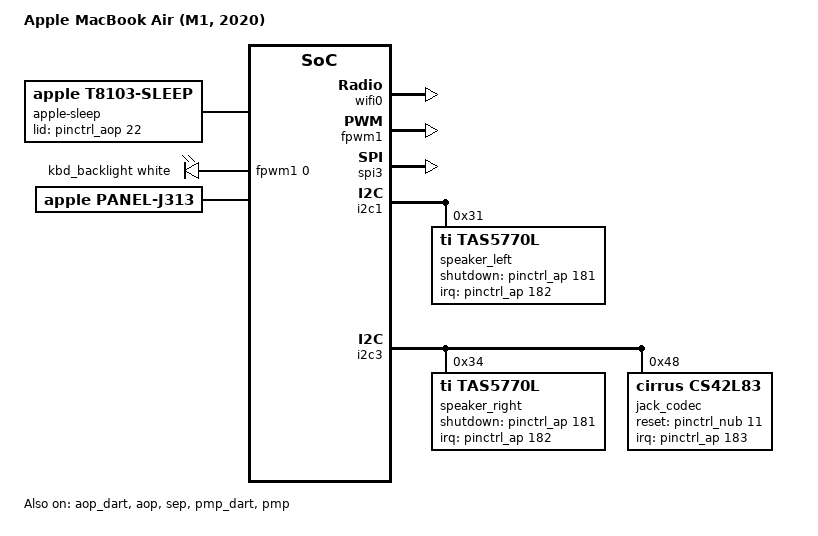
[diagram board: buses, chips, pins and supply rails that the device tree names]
// SPDX-License-Identifier: GPL-2.0+ OR MIT
/*
 * Apple MacBook Air (M1, 2020)
 *
 * target-type: J313
 *
 * Copyright The Asahi Linux Contributors
 */

/dts-v1/;

#include "t8103.dtsi"
#include "t8103-jxxx.dtsi"
#include <dt-bindings/leds/common.h>

/ {
	compatible = "apple,j313", "apple,t8103", "apple,arm-platform";
	model = "Apple MacBook Air (M1, 2020)";
	chassis-type = "laptop";

	aliases {
		sep = &sep;
	};

	/* EXPERIMENTAL: drivers/soc/apple/apple-sleep.c (lid switch level on aop-gpio 22) */
	apple-sleep {
		compatible = "apple,t8103-sleep";
		lid-gpios = <&pinctrl_aop 22 GPIO_ACTIVE_HIGH>;
	};

	led-controller {
		compatible = "pwm-leds";
		led-0 {
			pwms = <&fpwm1 0 40000>;
			label = "kbd_backlight";
			function = LED_FUNCTION_KBD_BACKLIGHT;
			color = <LED_COLOR_ID_WHITE>;
			max-brightness = <255>;
			default-state = "keep";
		};
	};
};

&dcp {
	panel: panel {
		compatible = "apple,panel-j313", "apple,panel";
		width-mm = <286>;
		height-mm = <179>;
		apple,max-brightness = <420>;
	};
};

&framebuffer0 {
	panel = <&panel>;
	post-init-providers = <&panel>;
};

&bluetooth0 {
	brcm,board-type = "apple,shikoku";
};

&wifi0 {
	brcm,board-type = "apple,shikoku";
};

&fpwm1 {
	status = "okay";
};

/*
 * Provide labels for the USB type C ports.
 */

&typec0 {
	label = "USB-C Left-back";
};

&typec1 {
	label = "USB-C Left-front";
};

&spi3 {
	status = "okay";

	hid-transport@0 {
		compatible = "apple,spi-hid-transport";
		reg = <0>;
		spi-max-frequency = <8000000>;
		/*
		 * Apple's ADT specifies 20us CS change delays, and the
		 * SPI HID interface metadata specifies 45us. Using either
		 * seems not to be reliable, but adding both works, so
		 * best guess is they are cumulative.
		 */
		spi-cs-setup-delay-ns = <65000>;
		spi-cs-hold-delay-ns = <65000>;
		spi-cs-inactive-delay-ns = <250000>;
		spien-gpios = <&pinctrl_ap 195 0>;
		interrupts-extended = <&pinctrl_nub 13 IRQ_TYPE_LEVEL_LOW>;
	};
};

&i2c1 {
	speaker_left: codec@31 {
		compatible = "ti,tas5770l", "ti,tas2770";
		reg = <0x31>;
		shutdown-gpios = <&pinctrl_ap 181 GPIO_ACTIVE_HIGH>;
		#sound-dai-cells = <0>;
		sound-name-prefix = "Left";
		interrupts-extended = <&pinctrl_ap 182 IRQ_TYPE_LEVEL_LOW>;
		ti,imon-slot-no = <0>;
		ti,vmon-slot-no = <2>;
	};
};

&i2c3 {
	speaker_right: codec@34 {
		compatible = "ti,tas5770l", "ti,tas2770";
		reg = <0x34>;
		shutdown-gpios = <&pinctrl_ap 181 GPIO_ACTIVE_HIGH>;
		#sound-dai-cells = <0>;
		sound-name-prefix = "Right";
		interrupts-extended = <&pinctrl_ap 182 IRQ_TYPE_LEVEL_LOW>;
		ti,imon-slot-no = <4>;
		ti,vmon-slot-no = <6>;
	};

	jack_codec: codec@48 {
		compatible = "cirrus,cs42l83";
		reg = <0x48>;
		reset-gpios = <&pinctrl_nub 11 GPIO_ACTIVE_HIGH>;
		interrupt-parent = <&pinctrl_ap>;
		interrupts = <183 IRQ_TYPE_LEVEL_LOW>;
		#sound-dai-cells = <0>;
		cirrus,ts-inv = <1>;
		sound-name-prefix = "Jack";
	};
};

&aop_mbox {
       status = "okay";
};

&aop_dart {
       status = "okay";
};

&aop_admac {
       status = "okay";
};

&aop {
	status = "okay";
};

&sep {
	status = "okay";
};

&aop_audio {
	apple,chassis-name = "J313";
	apple,machine-kind = "MacBook Air";
};

/ {
	sound {
		compatible = "apple,j313-macaudio", "apple,macaudio";
		model = "MacBook Air J313";

		dai-link@0 {
			link-name = "Speakers";
			dai-tdm-idle-mode-0 = "zero";
			dai-tdm-idle-mode-1 = "zero";

			cpu {
				sound-dai = <&mca 0>, <&mca 1>;
			};
			codec {
				sound-dai = <&speaker_left>, <&speaker_right>;
			};
		};

		dai-link@1 {
			link-name = "Headphone Jack";

			cpu {
				sound-dai = <&mca 2>;
			};
			codec {
				sound-dai = <&jack_codec>;
			};
		};
	};
};

#include "hwmon-laptop.dtsi"
#include "isp-imx248.dtsi"

&isp {
	apple,platform-id = <1>;
};

/*
 * PMP: booted by Linux (iBoot leaves it pre-loaded and stopped). The DRAM energy model is the ADT
 * iop-pmp-nub energy-model-dram-configs (4 x 128 bytes: capacity GB, vendor id, ...); the driver
 * hands the PMP the entry for this machine, as macOS does. Its domains must stay up across suspend.
 */
&ps_pmp {
	apple,always-on;
};

&ps_pms_sram {
	apple,always-on;
};

&pmp_dart {
	status = "okay";
};

&pmp_mbox {
	status = "okay";
};

&pmp {
	apple,dram-capacity = <8>;
	apple,dram-vendor-id = <6>;
	apple,energy-model-dram-configs = [
		08 00 00 00 06 00 00 00 cc 4c 1a 00 99 99 00 00
		66 66 07 00 00 00 01 00 33 b3 08 00 00 80 58 00
		66 e6 54 00 33 33 0b 00 cc cc 00 00 66 66 17 00
		66 66 23 00 00 80 01 00 99 99 0f 00 66 e6 01 00
		33 b3 11 00 cc 4c b4 00 99 19 aa 00 00 80 14 00
		cc cc 00 00 cc cc 2e 00 cc cc 25 00 00 80 01 00
		33 33 12 00 66 e6 01 00 00 00 14 00 cc 4c f2 00
		33 33 d2 00 33 b3 16 00 cc cc 00 00 33 33 44 00
		08 00 00 00 ff 00 00 00 cc 4c 0f 00 cc 4c 00 00
		66 e6 05 00 00 00 01 00 33 33 07 00 66 66 6a 00
		66 e6 47 00 33 b3 09 00 00 80 00 00 66 66 17 00
		99 99 16 00 00 80 00 00 cc 4c 0c 00 cc cc 01 00
		00 80 0e 00 99 19 bd 00 33 b3 9b 00 33 33 10 00
		00 80 00 00 cc cc 2e 00 99 19 1a 00 00 80 00 00
		cc 4c 0f 00 cc cc 01 00 00 00 12 00 33 b3 0e 01
		33 33 cc 00 66 66 13 00 00 80 00 00 33 33 44 00
		10 00 00 00 06 00 00 00 cc cc 26 00 33 33 01 00
		cc cc 0e 00 33 b3 01 00 33 33 10 00 66 e6 6d 00
		00 80 66 00 cc 4c 16 00 33 b3 01 00 66 66 17 00
		33 33 35 00 cc cc 02 00 00 80 1c 00 00 80 03 00
		00 80 1e 00 cc cc e1 00 cc 4c ce 00 00 80 25 00
		33 b3 01 00 cc cc 2e 00 00 80 39 00 cc cc 02 00
		cc 4c 20 00 00 80 03 00 cc 4c 22 00 99 99 25 01
		99 99 fe 00 cc 4c 29 00 33 b3 01 00 33 33 44 00
		10 00 00 00 ff 00 00 00 66 e6 21 00 99 19 01 00
		66 e6 10 00 66 e6 01 00 33 33 13 00 00 00 75 00
		cc 4c 63 00 99 19 1c 00 cc 4c 01 00 66 66 17 00
		cc 4c 2e 00 cc cc 01 00 33 b3 1c 00 cc 4c 03 00
		99 99 1f 00 33 b3 f8 00 cc 4c d4 00 cc 4c 28 00
		cc 4c 01 00 cc cc 2e 00 33 b3 34 00 cc cc 01 00
		cc 4c 22 00 cc 4c 03 00 99 99 25 00 99 99 52 01
		00 00 14 01 00 00 2e 00 cc 4c 01 00 33 33 44 00
	];
	status = "okay";
};
